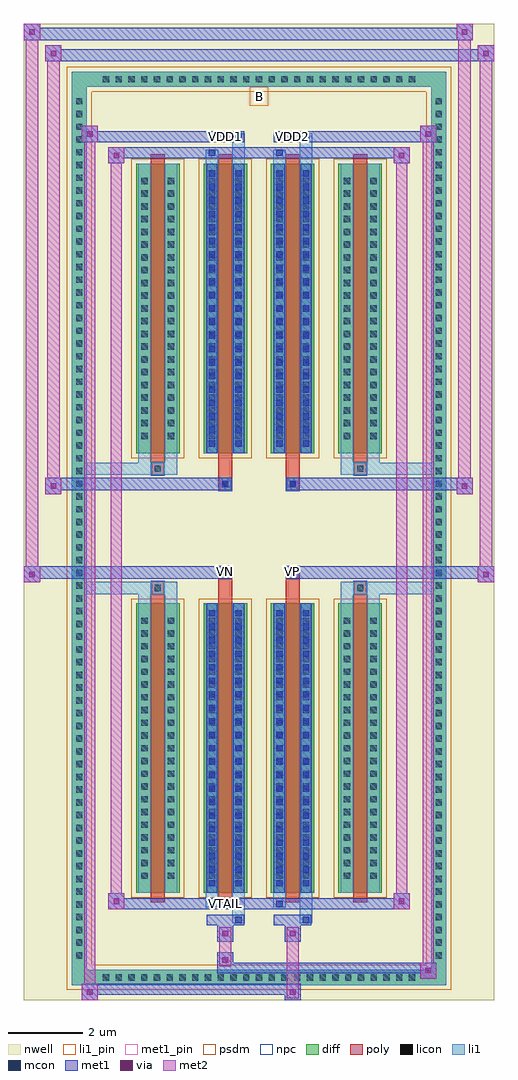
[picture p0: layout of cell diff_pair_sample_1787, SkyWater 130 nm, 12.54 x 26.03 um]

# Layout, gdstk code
import gdstk
lib = gdstk.Library(unit=1e-6, precision=5e-09)
def R(c, l, rs):  # rectangles x0, y0, x1, y1
    for r in rs: c.add(gdstk.rectangle(r[:2], r[2:], *l))
def A(c, l, x, y, w, h, nx, ny, dx, dy):  # array of equal rectangles
    R(c, l, [(x+i*dx, y+j*dy, x+i*dx+w, y+j*dy+h) for i in range(nx) for j in range(ny)])
def P(c, l, *ps):  # polygons
    for p in ps: c.add(gdstk.Polygon(p, *l))
nwell = (64, 20)
diff = (65, 20)
poly = (66, 20)
licon = (66, 44)
li1_pin = (67, 16)
li1 = (67, 20)
mcon = (67, 44)
met1_pin = (68, 16)
met1 = (68, 20)
via = (68, 44)
met2 = (69, 20)
psdm = (94, 20)
npc = (95, 20)

diff_pair_sample_1787 = lib.new_cell('diff_pair_sample_1787')
R(diff_pair_sample_1787, nwell, [(-6.27,-12.58,6.27,13.45), (-3.59,-10.77,-0.01,-0.815), (0.01,-10.77,3.59,-0.815), (-3.59,0.815,-0.01,10.77), (0.01,0.815,3.59,10.77)])
A(diff_pair_sample_1787, diff, -4.285, -12.18, 0.41, 0.41, 25, 2, 0.34, 23.95)
A(diff_pair_sample_1787, diff, -5, -11.595, 0.41, 0.41, 1, 68, 0, 0.34)
A(diff_pair_sample_1787, diff, 4.59, -11.595, 0.41, 0.41, 1, 68, 0, 0.34)
A(diff_pair_sample_1787, diff, -3.28, -9.725, 1.16, 7.72, 4, 2, 1.8, 11.73)
R(diff_pair_sample_1787, diff, [(-4.285,-12.18,4.285,-11.77), (-5,-11.595,-4.59,11.595), (4.59,-11.595,5,11.595), (-4.285,11.77,4.285,12.18)])
P(diff_pair_sample_1787, diff, [(5,12.18),(-5,12.18),(-5,-11.77),(-4.59,-11.77),(-4.59,11.77),(4.59,11.77),(4.59,-11.77),(-4.59,-11.77),(-5,-11.77),(-5,-12.18),(5,-12.18)])
A(diff_pair_sample_1787, poly, -2.89, -9.975, 0.38, 8.22, 4, 2, 1.8, 11.73)
R(diff_pair_sample_1787, poly, [(-2.865,-1.755,-2.535,-1.425), (-2.865,-1.755,-2.535,-1.425), (-1.09,-1.755,-0.71,-1.345), (0.71,-1.755,1.09,-1.345), (2.535,-1.755,2.865,-1.425), (2.535,-1.755,2.865,-1.425), (-1.09,-1.345,-0.71,-1.015), (-1.065,-1.345,-0.735,-1.015), (0.71,-1.345,1.09,-1.015), (0.735,-1.345,1.065,-1.015), (-1.09,1.015,-0.71,1.345), (-1.065,1.015,-0.735,1.345), (0.71,1.015,1.09,1.345), (0.735,1.015,1.065,1.345), (-1.09,1.345,-0.71,1.755), (0.71,1.345,1.09,1.755), (-2.865,1.425,-2.535,1.755), (-2.865,1.425,-2.535,1.755), (2.535,1.425,2.865,1.755), (2.535,1.425,2.865,1.755)])
A(diff_pair_sample_1787, licon, -4.165, -12.06, 0.17, 0.17, 25, 2, 0.34, 23.95)
A(diff_pair_sample_1787, licon, -4.88, -11.475, 0.17, 0.17, 1, 68, 0, 0.34)
A(diff_pair_sample_1787, licon, 4.71, -11.475, 0.17, 0.17, 1, 68, 0, 0.34)
A(diff_pair_sample_1787, licon, -3.14, -9.35, 0.17, 0.17, 1, 21, 0, 0.34)
A(diff_pair_sample_1787, licon, -2.43, -9.35, 0.17, 0.17, 1, 21, 0, 0.34)
A(diff_pair_sample_1787, licon, -1.34, -9.35, 0.17, 0.17, 1, 21, 0, 0.34)
A(diff_pair_sample_1787, licon, -0.63, -9.35, 0.17, 0.17, 1, 21, 0, 0.34)
A(diff_pair_sample_1787, licon, 0.46, -9.35, 0.17, 0.17, 1, 21, 0, 0.34)
A(diff_pair_sample_1787, licon, 1.17, -9.35, 0.17, 0.17, 1, 21, 0, 0.34)
A(diff_pair_sample_1787, licon, 2.26, -9.35, 0.17, 0.17, 1, 21, 0, 0.34)
A(diff_pair_sample_1787, licon, 2.97, -9.35, 0.17, 0.17, 1, 21, 0, 0.34)
A(diff_pair_sample_1787, licon, -3.14, 2.38, 0.17, 0.17, 1, 21, 0, 0.34)
A(diff_pair_sample_1787, licon, -2.43, 2.38, 0.17, 0.17, 1, 21, 0, 0.34)
A(diff_pair_sample_1787, licon, -1.34, 2.38, 0.17, 0.17, 1, 21, 0, 0.34)
A(diff_pair_sample_1787, licon, -0.63, 2.38, 0.17, 0.17, 1, 21, 0, 0.34)
A(diff_pair_sample_1787, licon, 0.46, 2.38, 0.17, 0.17, 1, 21, 0, 0.34)
A(diff_pair_sample_1787, licon, 1.17, 2.38, 0.17, 0.17, 1, 21, 0, 0.34)
A(diff_pair_sample_1787, licon, 2.26, 2.38, 0.17, 0.17, 1, 21, 0, 0.34)
A(diff_pair_sample_1787, licon, 2.97, 2.38, 0.17, 0.17, 1, 21, 0, 0.34)
R(diff_pair_sample_1787, licon, [(-2.785,-1.675,-2.615,-1.505), (2.615,-1.675,2.785,-1.505), (-0.985,-1.265,-0.815,-1.095), (0.815,-1.265,0.985,-1.095), (-0.985,1.095,-0.815,1.265), (0.815,1.095,0.985,1.265), (-2.785,1.505,-2.615,1.675), (2.615,1.505,2.785,1.675)])
R(diff_pair_sample_1787, li1_pin, [(-0.25,11.27,0.25,11.77)])
A(diff_pair_sample_1787, li1, -4.245, -12.14, 0.33, 0.33, 25, 2, 0.34, 23.95)
A(diff_pair_sample_1787, li1, -4.96, -11.555, 0.33, 0.33, 1, 68, 0, 0.34)
A(diff_pair_sample_1787, li1, 4.63, -11.555, 0.33, 0.33, 1, 68, 0, 0.34)
A(diff_pair_sample_1787, li1, -1.34, -9.55, 0.17, 0.17, 1, 21, 0, 0.36)
A(diff_pair_sample_1787, li1, -0.63, -9.55, 0.17, 0.17, 1, 21, 0, 0.36)
A(diff_pair_sample_1787, li1, 0.46, -9.55, 0.17, 0.17, 1, 21, 0, 0.36)
A(diff_pair_sample_1787, li1, 1.17, -9.55, 0.17, 0.17, 1, 21, 0, 0.36)
A(diff_pair_sample_1787, li1, -3.22, -9.43, 0.33, 0.33, 1, 21, 0, 0.34)
A(diff_pair_sample_1787, li1, -2.51, -9.43, 0.33, 0.33, 1, 21, 0, 0.34)
A(diff_pair_sample_1787, li1, -1.42, -9.43, 0.33, 0.33, 1, 21, 0, 0.34)
A(diff_pair_sample_1787, li1, -0.71, -9.43, 0.33, 0.33, 1, 21, 0, 0.34)
A(diff_pair_sample_1787, li1, 0.38, -9.43, 0.33, 0.33, 1, 21, 0, 0.34)
A(diff_pair_sample_1787, li1, 1.09, -9.43, 0.33, 0.33, 1, 21, 0, 0.34)
A(diff_pair_sample_1787, li1, 2.18, -9.43, 0.33, 0.33, 1, 21, 0, 0.34)
A(diff_pair_sample_1787, li1, 2.89, -9.43, 0.33, 0.33, 1, 21, 0, 0.34)
A(diff_pair_sample_1787, li1, -1.34, 2.18, 0.17, 0.17, 1, 21, 0, 0.36)
A(diff_pair_sample_1787, li1, -0.63, 2.18, 0.17, 0.17, 1, 21, 0, 0.36)
A(diff_pair_sample_1787, li1, 0.46, 2.18, 0.17, 0.17, 1, 21, 0, 0.36)
A(diff_pair_sample_1787, li1, 1.17, 2.18, 0.17, 0.17, 1, 21, 0, 0.36)
A(diff_pair_sample_1787, li1, -3.22, 2.3, 0.33, 0.33, 1, 21, 0, 0.34)
A(diff_pair_sample_1787, li1, -2.51, 2.3, 0.33, 0.33, 1, 21, 0, 0.34)
A(diff_pair_sample_1787, li1, -1.42, 2.3, 0.33, 0.33, 1, 21, 0, 0.34)
A(diff_pair_sample_1787, li1, -0.71, 2.3, 0.33, 0.33, 1, 21, 0, 0.34)
A(diff_pair_sample_1787, li1, 0.38, 2.3, 0.33, 0.33, 1, 21, 0, 0.34)
A(diff_pair_sample_1787, li1, 1.09, 2.3, 0.33, 0.33, 1, 21, 0, 0.34)
A(diff_pair_sample_1787, li1, 2.18, 2.3, 0.33, 0.33, 1, 21, 0, 0.34)
A(diff_pair_sample_1787, li1, 2.89, 2.3, 0.33, 0.33, 1, 21, 0, 0.34)
R(diff_pair_sample_1787, li1, [(-5,-12.18,-4.59,-11.77), (-5,-12.18,-4.59,-11.77), (-4.59,-12.18,4.59,-11.77), (4.59,-12.18,5,-11.77), (4.59,-12.18,5,-11.77), (-5,-11.77,-4.59,11.77), (4.59,-11.77,5,11.77), (-0.71,-10.53,-0.38,-9.725), (-0.63,-10.53,-0.46,-10.36), (1.09,-10.53,1.42,-9.725), (1.17,-10.53,1.34,-10.36), (-1.42,-10.1,-1.09,-9.725), (-1.34,-10.1,-1.17,-9.93), (0.38,-10.1,0.71,-9.725), (0.46,-10.1,0.63,-9.93), (-3.22,-9.725,-2.89,-2.005), (-2.51,-9.725,-2.18,-2.005), (-1.42,-9.725,-1.09,-2.005), (-0.71,-9.725,-0.38,-2.005), (0.38,-9.725,0.71,-2.005), (1.09,-9.725,1.42,-2.005), (2.18,-9.725,2.51,-2.005), (2.89,-9.725,3.22,-2.005), (-1.34,-9.55,-1.17,-2.18), (-0.63,-9.55,-0.46,-2.18), (0.46,-9.55,0.63,-2.18), (1.17,-9.55,1.34,-2.18), (-3.22,-2.005,-2.89,-1.425), (-2.51,-2.005,-2.18,-1.425), (2.18,-2.005,2.51,-1.425), (2.89,-2.005,3.22,-1.425), (-5,-1.755,-2.865,-1.425), (-3.22,-1.755,-2.865,-1.425), (-2.865,-1.755,-2.535,-1.425), (-2.535,-1.755,-2.18,-1.425), (2.18,-1.755,2.535,-1.425), (2.535,-1.755,2.865,-1.425), (2.535,-1.755,5,-1.425), (2.865,-1.755,3.22,-1.425), (-1.065,-1.345,-0.735,-1.015), (0.735,-1.345,1.065,-1.015), (-1.065,1.015,-0.735,1.345), (0.735,1.015,1.065,1.345), (-5,1.425,-2.865,1.755), (-3.22,1.425,-2.865,1.755), (-3.22,1.425,-2.89,2.005), (-2.865,1.425,-2.535,1.755), (-2.535,1.425,-2.18,1.755), (-2.51,1.425,-2.18,2.005), (2.18,1.425,2.535,1.755), (2.18,1.425,2.51,2.005), (2.535,1.425,2.865,1.755), (2.535,1.425,5,1.755), (2.865,1.425,3.22,1.755), (2.89,1.425,3.22,2.005), (-3.22,2.005,-2.89,9.725), (-2.51,2.005,-2.18,9.725), (-1.42,2.005,-1.09,9.725), (-0.71,2.005,-0.38,9.725), (0.38,2.005,0.71,9.725), (1.09,2.005,1.42,9.725), (2.18,2.005,2.51,9.725), (2.89,2.005,3.22,9.725), (-1.34,2.18,-1.17,9.55), (-0.63,2.18,-0.46,9.55), (0.46,2.18,0.63,9.55), (1.17,2.18,1.34,9.55), (-1.42,9.725,-1.09,10.1), (-0.71,9.725,-0.38,10.53), (0.38,9.725,0.71,10.1), (1.09,9.725,1.42,10.53), (-1.34,9.93,-1.17,10.1), (0.46,9.93,0.63,10.1), (-0.63,10.36,-0.46,10.53), (1.17,10.36,1.34,10.53), (-5,11.77,-4.59,12.18), (-5,11.77,-4.59,12.18), (-4.59,11.77,4.59,12.18), (4.59,11.77,5,12.18), (4.59,11.77,5,12.18)])
A(diff_pair_sample_1787, mcon, -1.34, -9.55, 0.17, 0.17, 1, 21, 0, 0.36)
A(diff_pair_sample_1787, mcon, -0.63, -9.55, 0.17, 0.17, 1, 21, 0, 0.36)
A(diff_pair_sample_1787, mcon, 0.46, -9.55, 0.17, 0.17, 1, 21, 0, 0.36)
A(diff_pair_sample_1787, mcon, 1.17, -9.55, 0.17, 0.17, 1, 21, 0, 0.36)
A(diff_pair_sample_1787, mcon, -1.34, 2.18, 0.17, 0.17, 1, 21, 0, 0.36)
A(diff_pair_sample_1787, mcon, -0.63, 2.18, 0.17, 0.17, 1, 21, 0, 0.36)
A(diff_pair_sample_1787, mcon, 0.46, 2.18, 0.17, 0.17, 1, 21, 0, 0.36)
A(diff_pair_sample_1787, mcon, 1.17, 2.18, 0.17, 0.17, 1, 21, 0, 0.36)
R(diff_pair_sample_1787, mcon, [(-0.63,-10.53,-0.46,-10.36), (1.17,-10.53,1.34,-10.36), (-1.34,-10.1,-1.17,-9.93), (0.46,-10.1,0.63,-9.93), (-0.985,-1.265,-0.815,-1.095), (0.815,-1.265,0.985,-1.095), (-0.985,1.095,-0.815,1.265), (0.815,1.095,0.985,1.265), (-1.34,9.93,-1.17,10.1), (0.46,9.93,0.63,10.1), (-0.63,10.36,-0.46,10.53), (1.17,10.36,1.34,10.53)])
R(diff_pair_sample_1787, met1_pin, [(-1.035,-10.14,-0.765,-9.87), (-1.035,-1.285,-0.765,-1.015), (0.765,-1.285,1.035,-1.015), (-1.035,10.32,-0.765,10.59), (0.765,10.32,1.035,10.59)])
A(diff_pair_sample_1787, met1, -1.4, -9.61, 0.29, 0.29, 1, 21, 0, 0.36)
A(diff_pair_sample_1787, met1, -0.69, -9.61, 0.29, 0.29, 1, 21, 0, 0.36)
A(diff_pair_sample_1787, met1, 0.4, -9.61, 0.29, 0.29, 1, 21, 0, 0.36)
A(diff_pair_sample_1787, met1, 1.11, -9.61, 0.29, 0.29, 1, 21, 0, 0.36)
A(diff_pair_sample_1787, met1, -1.4, 2.12, 0.29, 0.29, 1, 21, 0, 0.36)
A(diff_pair_sample_1787, met1, -0.69, 2.12, 0.29, 0.29, 1, 21, 0, 0.36)
A(diff_pair_sample_1787, met1, 0.4, 2.12, 0.29, 0.29, 1, 21, 0, 0.36)
A(diff_pair_sample_1787, met1, 1.11, 2.12, 0.29, 0.29, 1, 21, 0, 0.36)
R(diff_pair_sample_1787, met1, [(-4.73,-12.58,-4.3,-12.15), (0.685,-12.58,1.115,-12.15), (-4.73,-12.44,1.115,-12.15), (4.3,-12.01,4.73,-11.58), (-1.115,-11.87,4.73,-11.58), (-1.115,-11.73,-0.685,-11.3), (-1.115,-11.02,-0.685,-10.59), (0.685,-11.02,1.115,-10.59), (-1.4,-10.59,-0.4,-10.3), (-0.69,-10.59,-0.4,-10.3), (0.4,-10.59,1.4,-10.3), (1.11,-10.59,1.4,-10.3), (-4.02,-10.16,-3.59,-9.73), (-4.02,-10.16,-1.4,-9.87), (-1.4,-10.16,-1.11,-9.87), (-1.4,-10.16,-0.4,-9.87), (-0.4,-10.16,0.4,-9.87), (0.4,-10.16,0.69,-9.87), (0.4,-10.16,1.4,-9.87), (1.4,-10.16,4.02,-9.87), (3.59,-10.16,4.02,-9.73), (-1.4,-9.725,-1.11,-2.005), (-0.69,-9.725,-0.4,-2.005), (0.4,-9.725,0.69,-2.005), (1.11,-9.725,1.4,-2.005), (-6.27,-1.445,-5.84,-1.015), (5.84,-1.445,6.27,-1.015), (-6.27,-1.345,-0.71,-1.015), (-1.09,-1.345,-0.71,-1.015), (0.71,-1.345,1.09,-1.015), (0.71,-1.345,6.27,-1.015), (-1.045,-1.325,-0.755,-1.035), (0.755,-1.325,1.045,-1.035), (-5.7,0.915,-5.27,1.345), (5.27,0.915,5.7,1.345), (-5.7,1.015,-1.09,1.345), (-1.09,1.015,-0.71,1.345), (0.71,1.015,1.09,1.345), (1.09,1.015,5.7,1.345), (-1.045,1.035,-0.755,1.325), (0.755,1.035,1.045,1.325), (-1.4,2.005,-1.11,9.725), (-0.69,2.005,-0.4,9.725), (0.4,2.005,0.69,9.725), (1.11,2.005,1.4,9.725), (-4.02,9.73,-3.59,10.16), (3.59,9.73,4.02,10.16), (-4.02,9.87,-1.4,10.16), (-1.4,9.87,-1.11,10.16), (-1.4,9.87,-0.4,10.16), (-0.4,9.87,0.4,10.16), (0.4,9.87,0.69,10.16), (0.4,9.87,1.4,10.16), (1.4,9.87,4.02,10.16), (-4.73,10.3,-4.3,10.73), (-4.73,10.3,-1.4,10.59), (-1.4,10.3,-0.4,10.59), (-0.69,10.3,-0.4,10.59), (0.4,10.3,1.4,10.59), (1.11,10.3,1.4,10.59), (1.4,10.3,4.73,10.59), (4.3,10.3,4.73,10.73), (-5.7,12.45,-5.27,12.88), (-5.7,12.45,-3.59,12.78), (-3.59,12.45,3.59,12.78), (3.59,12.45,6.27,12.78), (5.84,12.45,6.27,12.88), (-6.27,13.02,-5.84,13.45), (-6.27,13.02,-3.59,13.35), (-3.59,13.02,3.59,13.35), (3.59,13.02,5.7,13.35), (5.27,13.02,5.7,13.45)])
R(diff_pair_sample_1787, via, [(-4.59,-12.44,-4.44,-12.29), (0.825,-12.44,0.975,-12.29), (4.44,-11.87,4.59,-11.72), (-0.975,-11.59,-0.825,-11.44), (-0.975,-10.88,-0.825,-10.73), (0.825,-10.88,0.975,-10.73), (-3.88,-10.02,-3.73,-9.87), (3.73,-10.02,3.88,-9.87), (-6.13,-1.305,-5.98,-1.155), (5.98,-1.305,6.13,-1.155), (-5.56,1.055,-5.41,1.205), (5.41,1.055,5.56,1.205), (-3.88,9.87,-3.73,10.02), (3.73,9.87,3.88,10.02), (-4.59,10.44,-4.44,10.59), (4.44,10.44,4.59,10.59), (-5.56,12.59,-5.41,12.74), (5.98,12.59,6.13,12.74), (-6.13,13.16,-5.98,13.31), (5.41,13.16,5.56,13.31)])
R(diff_pair_sample_1787, met2, [(-4.73,-12.58,-4.3,-12.15), (-4.66,-12.58,-4.37,10.73), (-4.37,-12.58,-4.3,-12.15), (-4.68,-12.53,-4.35,-12.2), (0.735,-12.53,1.065,-12.2), (0.735,-12.2,1.065,-10.97), (4.3,-12.01,4.73,-11.58), (4.37,-12.01,4.66,10.73), (4.66,-12.01,4.73,-11.58), (4.35,-11.96,4.68,-11.63), (-1.065,-11.68,-0.735,-11.35), (-1.065,-11.35,-0.735,-10.97), (-1.065,-10.97,-0.735,-10.64), (0.735,-10.97,1.065,-10.64), (-4.02,-10.16,-3.59,-9.73), (-3.95,-10.16,-3.66,10.16), (-3.66,-10.16,-3.59,-9.73), (3.59,-10.16,4.02,-9.73), (3.66,-10.16,3.95,10.16), (3.95,-10.16,4.02,-9.73), (-3.97,-10.11,-3.64,-9.78), (3.64,-10.11,3.97,-9.78), (-6.27,-1.445,-5.84,-1.015), (-6.22,-1.445,-5.89,13.45), (-5.89,-1.445,-5.84,-1.015), (5.84,-1.445,6.27,-1.015), (5.89,-1.445,6.22,12.88), (6.22,-1.445,6.27,-1.015), (-6.22,-1.395,-5.89,-1.065), (5.89,-1.395,6.22,-1.065), (-5.7,0.915,-5.27,1.345), (-5.65,0.915,-5.32,12.88), (-5.32,0.915,-5.27,1.345), (5.27,0.915,5.7,1.345), (5.32,0.915,5.65,13.45), (5.65,0.915,5.7,1.345), (-5.65,0.965,-5.32,1.295), (5.32,0.965,5.65,1.295), (-4.02,9.73,-3.59,10.16), (-3.66,9.73,-3.59,10.16), (3.59,9.73,4.02,10.16), (3.95,9.73,4.02,10.16), (-3.97,9.78,-3.64,10.11), (3.64,9.78,3.97,10.11), (-4.73,10.3,-4.3,10.73), (-4.37,10.3,-4.3,10.73), (4.3,10.3,4.73,10.73), (4.66,10.3,4.73,10.73), (-4.68,10.35,-4.35,10.68), (4.35,10.35,4.68,10.68), (-5.7,12.45,-5.27,12.88), (-5.32,12.45,-5.27,12.88), (5.84,12.45,6.27,12.88), (6.22,12.45,6.27,12.88), (-5.65,12.5,-5.32,12.83), (5.89,12.5,6.22,12.83), (-6.27,13.02,-5.84,13.45), (-5.89,13.02,-5.84,13.45), (5.27,13.02,5.7,13.45), (5.65,13.02,5.7,13.45), (-6.22,13.07,-5.89,13.4), (5.32,13.07,5.65,13.4)])
A(diff_pair_sample_1787, psdm, -3.41, -9.855, 1.42, 7.98, 4, 2, 1.8, 11.73)
P(diff_pair_sample_1787, psdm, [(5.13,12.31),(-5.13,12.31),(-5.13,-11.64),(-4.46,-11.64),(-4.46,11.64),(4.46,11.64),(4.46,-11.64),(-4.46,-11.64),(-5.13,-11.64),(-5.13,-12.31),(5.13,-12.31)])
R(diff_pair_sample_1787, npc, [(-2.885,-1.775,-2.515,-1.405), (2.515,-1.775,2.885,-1.405), (-1.085,-1.365,-0.715,-0.995), (0.715,-1.365,1.085,-0.995), (-1.085,0.995,-0.715,1.365), (0.715,0.995,1.085,1.365), (-2.885,1.405,-2.515,1.775), (2.515,1.405,2.885,1.775)])
diff_pair_sample_1787.add(gdstk.Label('VTAIL', (-0.9,-10.005), layer=68, texttype=5))
diff_pair_sample_1787.add(gdstk.Label('VN', (-0.9,-1.15), layer=68, texttype=5))
diff_pair_sample_1787.add(gdstk.Label('VP', (0.9,-1.15), layer=68, texttype=5))
diff_pair_sample_1787.add(gdstk.Label('B', (0,11.52), layer=67, texttype=5))
diff_pair_sample_1787.add(gdstk.Label('VDD2', (0.9,10.455), layer=68, texttype=5))
diff_pair_sample_1787.add(gdstk.Label('VDD1', (-0.9,10.455), layer=68, texttype=5))

lib.write_gds('diff_pair_sample_1787.gds')
